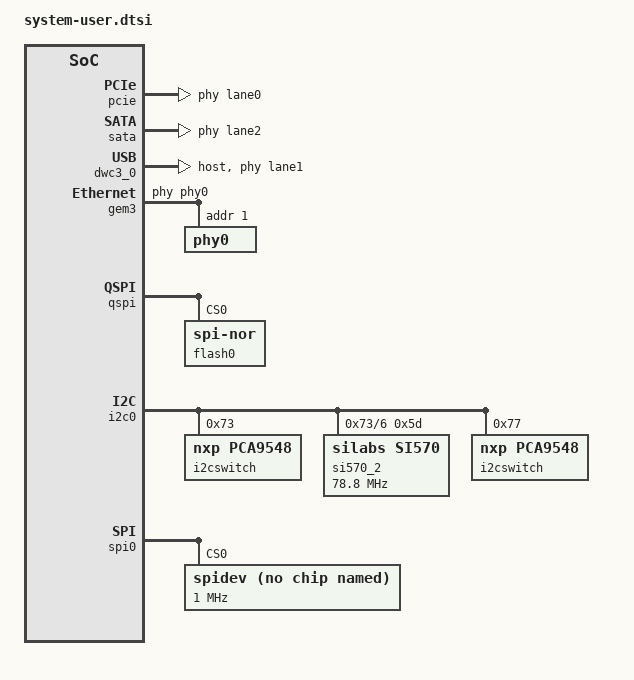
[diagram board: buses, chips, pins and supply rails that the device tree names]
/include/ "system-conf.dtsi"
/ {
};
/* notes:
serdes: // PHY TYP see: dt-bindings/phy/phy.h
*/

/* default */

/* SD */

&sdhci1 {
	// disable-wp;
	no-1-8-v;

};

/*PCIE*/
&pcie {
     phys = <&lane0 2 0 2 100000000>;  //not recognized at the moment on linux
};

/* DP */ 
&zynqmp_dpsub {
    phys = <&lane3 5 0 3 27000000>; //Xilinx default is 5 (UFS), 6 (DP) does not worrk
};

/* SATA */

&sata {
    //phys = <&lane2 1 0 1 150000000>;  //TE0808,TE0807
    phys = <&lane2 1 0 0 150000000>; //TE0803
};


/* USB  */


&dwc3_0 {
    status = "okay";
    dr_mode = "host";
    snps,usb3_lpm_capable;
    snps,dis_u3_susphy_quirk;
    snps,dis_u2_susphy_quirk;
    phy-names = "usb2-phy","usb3-phy";
    phys = <&lane1 4 0 2 100000000>;
    maximum-speed = "super-speed";
};

/* ETH PHY */

&gem3 {
	phy-handle = <&phy0>;
	phy0: phy0@1 {
		device_type = "ethernet-phy";
		reg = <1>;
	};
};

/* QSPI */

&qspi {
    #address-cells = <1>;
    #size-cells = <0>;
    status = "okay";
    flash0: flash@0 {
        compatible = "jedec,spi-nor";
        reg = <0x0>;
        #address-cells = <1>;
        #size-cells = <1>;
    };
};

/* I2C */

&i2c0 {
    i2cswitch@73 { // u
        compatible = "nxp,pca9548";
        #address-cells = <1>;
        #size-cells = <0>;
        reg = <0x73>;
        i2c-mux-idle-disconnect;

        i2c@2 { // PCIe
            #address-cells = <1>;
            #size-cells = <0>;
            reg = <2>;
        };
        i2c@3 { // i2c SFP
            #address-cells = <1>;
            #size-cells = <0>;
            reg = <3>;
        };
        i2c@4 { // i2c SFP
            #address-cells = <1>;
            #size-cells = <0>;
            reg = <4>;
        };
        i2c@5 { // i2c EEPROM
            #address-cells = <1>;
            #size-cells = <0>;
            reg = <5>;
        };
        i2c@6 { // i2c FMC
            #address-cells = <1>;
            #size-cells = <0>;
            reg = <6>;

            si570_2: clock-generator3@5d {
                #clock-cells = <0>;
                compatible = "silabs,si570";
                reg = <0x5d>;
                temperature-stability = <50>;
                factory-fout = <156250000>;
                clock-frequency = <78800000>;
            };
        };
        i2c@7 { // i2c USB HUB
            #address-cells = <1>;
            #size-cells = <0>;
            reg = <7>;
        };
    };
    i2cswitch@77 { // u
        compatible = "nxp,pca9548";
        #address-cells = <1>;
        #size-cells = <0>;
        reg = <0x77>;
        i2c-mux-idle-disconnect;
        i2c@0 { // i2c PMOD
            #address-cells = <1>;
            #size-cells = <0>;
            reg = <0>;
        };
        i2c@1 { // i2c Audio Codec
            #address-cells = <1>;
            #size-cells = <0>;
            reg = <1>;
			/*
            adau1761: adau1761@38 {
                compatible = "adi,adau1761";
                reg = <0x38>;
            };
			*/
        };
        i2c@2 { // i2c FireFly A
            #address-cells = <1>;
            #size-cells = <0>;
            reg = <2>;
        };
        i2c@3 { // i2c FireFly B
            #address-cells = <1>;
            #size-cells = <0>;
            reg = <3>;
        };
        i2c@4 { // i2c PLL
            #address-cells = <1>;
            #size-cells = <0>;
            reg = <4>;
        };
        i2c@5 { // i2c SC
            #address-cells = <1>;
            #size-cells = <0>;
            reg = <5>;
        };
        i2c@6 { // i2c
            #address-cells = <1>;
            #size-cells = <0>;
            reg = <6>;
        };
        i2c@7 { // i2c
            #address-cells = <1>;
            #size-cells = <0>;
            reg = <7>;
        };
    };
};

&spi0 {
  spidev@0x00 {
    compatible = "spidev";
    spi-max-frequency = <1000000>;
    reg = <0>;
  };
};
